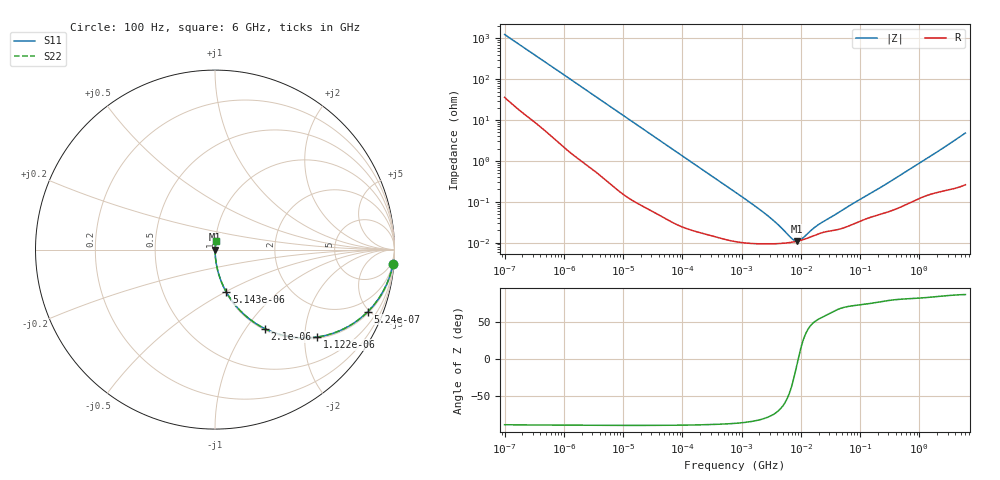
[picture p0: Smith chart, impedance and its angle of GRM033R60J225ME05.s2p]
!Murata Part Number: GRM033R60J225ME05
!These Parameters are Measured in Series Mode Connection
!Data Generated on Mar 30, 2021
!  o--ll--o
!Port1  Port2
!  o------o
!Operation Temp=25[degC], DC Bias Voltage=0[V]
!Freq. Start=100[Hz] Stop=6[GHz] 401[Steps]
# Hz S RI R 50
!Freq.(Hz) S11(Real) S11(Imag) S21(Real) S21(Imag) S12(Real) S12(Imag) S22(Real) S22(Imag)
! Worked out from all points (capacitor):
!   401 points, 100 Hz to 6 GHz, reference 50 ohm
!   read as one part in series: C = 1.27 uF near 109 Hz
!   lowest |Z| = 10.9 mohm at 8.692 MHz (marker M1)
!   series resonance near 9.018 MHz, so ESL is about 250 pH
!   S11 on the Smith chart (normalised r, x): 100 Hz: 2, -25; 524 Hz: 1.10, -4.89; 1.122 kHz: 1.04, -2.30; 2.1 kHz: 1.02, -1.24; 5.143 kHz: 1.01, -0.51; 6 GHz: 1.01, +0.10
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100  0.9914 -0.079  0.0086 0.079  0.0086 0.079  0.9914 -0.079
268  0.9532 -0.2001  0.0468 0.2001  0.0468 0.2001  0.9532 -0.2001
524  0.8517 -0.3454  0.1483 0.3454  0.1483 0.3454  0.8517 -0.3454
750  0.7427 -0.4281  0.2573 0.4281  0.2573 0.4281  0.7427 -0.4281
1122  0.5689 -0.4872  0.4311 0.4872  0.4311 0.4872  0.5689 -0.4872
1468  0.4385 -0.4885  0.5615 0.4885  0.5615 0.4885  0.4385 -0.4885
2008  0.2975 -0.4497  0.7025 0.4497  0.7025 0.4497  0.2975 -0.4497
2100  0.2796 -0.4414  0.7204 0.4414  0.7204 0.4414  0.2796 -0.4414
3287  0.1397 -0.3395  0.8603 0.3395  0.8603 0.3395  0.1397 -0.3395
5143  0.0637 -0.2377  0.9363 0.2377  0.9363 0.2377  0.0637 -0.2377
12592  0.012 -0.1032  0.988 0.1032  0.988 0.1032  0.012 -0.1032
40335  0.00155 -0.0328  0.9984 0.0328  0.9984 0.0328  0.00155 -0.0328
774597  0.000109 -0.00174  0.9999 0.00174  0.9999 0.00174  0.000109 -0.00174
2594782  9.31e-05 -0.000481  0.9999 0.000481  0.9999 0.000481  9.31e-05 -0.000481
4060267  9.44e-05 -0.000266  0.9999 0.000266  0.9999 0.000266  9.44e-05 -0.000266
6948629  0.000102 -7.81e-05  0.9999 7.81e-05  0.9999 7.81e-05  0.000102 -7.81e-05
8692127  0.000108 -1.08e-05  0.9999 1.08e-05  0.9999 1.08e-05  0.000108 -1.08e-05
1.039699e7  0.000116 4.12e-05  0.9999 -4.12e-05  0.9999 -4.12e-05  0.000116 4.12e-05
1.555665e7  0.000142 0.000155  0.9999 -0.000155  0.9999 -0.000155  0.000142 0.000155
2.327686e7  0.000176 0.000267  0.9998 -0.000267  0.9998 -0.000267  0.000176 0.000267
3.124326e8  0.000588 0.00298  0.9994 -0.00298  0.9994 -0.00298  0.000588 0.00298
6e9  0.00491 0.0479  0.9951 -0.0479  0.9951 -0.0479  0.00491 0.0479
